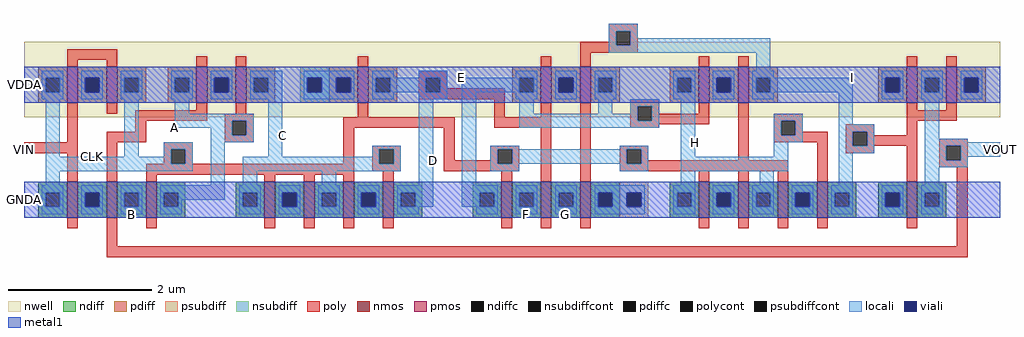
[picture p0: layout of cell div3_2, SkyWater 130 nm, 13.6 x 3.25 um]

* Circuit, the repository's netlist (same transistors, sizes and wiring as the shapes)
* NGSPICE file created from div3_2.ext - technology: sky130A

**.subckt div3_2
X0 C A VDDA VDDA sky130_fd_pr__pfet_01v8 ad=0.2 pd=1.8 as=0.1 ps=0.9 w=0.5 l=0.15
X1 VDDA I VOUT VDDA sky130_fd_pr__pfet_01v8 ad=0.2 pd=1.8 as=0.1 ps=0.9 w=0.5 l=0.15
X2 VOUT I GNDA GNDA sky130_fd_pr__nfet_01v8 ad=0.2 pd=1.8 as=0.2 ps=1.8 w=0.5 l=0.15
X3 D CLK VDDA VDDA sky130_fd_pr__pfet_01v8 ad=0.2 pd=1.8 as=0.2 ps=1.8 w=0.5 l=0.15
X4 C CLK GNDA GNDA sky130_fd_pr__nfet_01v8 ad=0.1 pd=0.9 as=0.1 ps=0.9 w=0.5 l=0.15
X5 GNDA VIN CLK GNDA sky130_fd_pr__nfet_01v8 ad=0.1 pd=0.9 as=0.2 ps=1.8 w=0.5 l=0.15
X6 GNDA CLK H GNDA sky130_fd_pr__nfet_01v8 ad=0.1 pd=0.9 as=0.1 ps=0.9 w=0.5 l=0.15
X7 GNDA I G GNDA sky130_fd_pr__nfet_01v8 ad=0.2 pd=1.8 as=0.1 ps=0.9 w=0.5 l=0.15
X8 I CLK VDDA VDDA sky130_fd_pr__pfet_01v8 ad=0.2 pd=1.8 as=0.1 ps=0.9 w=0.5 l=0.15
X9 VDDA D E VDDA sky130_fd_pr__pfet_01v8 ad=0.1 pd=0.9 as=0.2 ps=1.8 w=0.5 l=0.15
X10 GNDA CLK C GNDA sky130_fd_pr__nfet_01v8 ad=0.1 pd=0.9 as=0.1 ps=0.9 w=0.5 l=0.15
X11 GNDA CLK H GNDA sky130_fd_pr__nfet_01v8 ad=0.1 pd=0.9 as=0.2 ps=1.8 w=0.5 l=0.15
X12 A CLK B GNDA sky130_fd_pr__nfet_01v8 ad=0.2 pd=1.8 as=0.1 ps=0.9 w=0.5 l=0.15
X13 F CLK E GNDA sky130_fd_pr__nfet_01v8 ad=0.1 pd=0.9 as=0.2 ps=1.8 w=0.5 l=0.15
X14 CLK VIN VDDA VDDA sky130_fd_pr__pfet_01v8 ad=0.2 pd=1.8 as=0.1 ps=0.9 w=0.5 l=0.15
X15 VDDA VOUT A VDDA sky130_fd_pr__pfet_01v8 ad=0.1 pd=0.9 as=0.2 ps=1.8 w=0.5 l=0.15
X16 VOUT I VDDA VDDA sky130_fd_pr__pfet_01v8 ad=0.1 pd=0.9 as=0.2 ps=1.8 w=0.5 l=0.15
X17 I H GNDA GNDA sky130_fd_pr__nfet_01v8 ad=0.2 pd=1.8 as=0.1 ps=0.9 w=0.5 l=0.15
X18 GNDA CLK C GNDA sky130_fd_pr__nfet_01v8 ad=0.1 pd=0.9 as=0.2 ps=1.8 w=0.5 l=0.15
X19 VDDA VIN CLK VDDA sky130_fd_pr__pfet_01v8 ad=0.1 pd=0.9 as=0.2 ps=1.8 w=0.5 l=0.15
X20 E I VDDA VDDA sky130_fd_pr__pfet_01v8 ad=0.2 pd=1.8 as=0.1 ps=0.9 w=0.5 l=0.15
X21 D C GNDA GNDA sky130_fd_pr__nfet_01v8 ad=0.2 pd=1.8 as=0.1 ps=0.9 w=0.5 l=0.15
X22 H CLK GNDA GNDA sky130_fd_pr__nfet_01v8 ad=0.1 pd=0.9 as=0.1 ps=0.9 w=0.5 l=0.15
X23 G D F GNDA sky130_fd_pr__nfet_01v8 ad=0.1 pd=0.9 as=0.1 ps=0.9 w=0.5 l=0.15
X24 VDDA E H VDDA sky130_fd_pr__pfet_01v8 ad=0.1 pd=0.9 as=0.2 ps=1.8 w=0.5 l=0.15
X25 B VOUT GNDA GNDA sky130_fd_pr__nfet_01v8 ad=0.1 pd=0.9 as=0.1 ps=0.9 w=0.5 l=0.15
**.ends

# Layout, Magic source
magic
tech sky130A
<< nwell >>
rect 585 105 1945 210
<< nmos >>
rect 645 -35 660 15
rect 700 -35 715 15
rect 755 -35 770 15
rect 920 -35 935 15
rect 975 -35 990 15
rect 1030 -35 1045 15
rect 1085 -35 1100 15
rect 1250 -35 1265 15
rect 1305 -35 1320 15
rect 1360 -35 1375 15
rect 1525 -35 1540 15
rect 1580 -35 1595 15
rect 1635 -35 1650 15
rect 1690 -35 1705 15
rect 1815 -35 1830 15
<< pmos >>
rect 645 125 660 175
rect 700 125 715 175
rect 825 125 840 175
rect 880 125 895 175
rect 1050 125 1065 175
rect 1305 125 1320 175
rect 1360 125 1375 175
rect 1525 125 1540 175
rect 1580 125 1595 175
rect 1815 125 1830 175
rect 1870 125 1885 175
<< ndiff >>
rect 605 0 645 15
rect 605 -20 615 0
rect 635 -20 645 0
rect 605 -35 645 -20
rect 660 0 700 15
rect 660 -20 670 0
rect 690 -20 700 0
rect 660 -35 700 -20
rect 715 0 755 15
rect 715 -20 725 0
rect 745 -20 755 0
rect 715 -35 755 -20
rect 770 0 810 15
rect 770 -20 780 0
rect 800 -20 810 0
rect 770 -35 810 -20
rect 880 0 920 15
rect 880 -20 890 0
rect 910 -20 920 0
rect 880 -35 920 -20
rect 935 0 975 15
rect 935 -20 945 0
rect 965 -20 975 0
rect 935 -35 975 -20
rect 990 0 1030 15
rect 990 -20 1000 0
rect 1020 -20 1030 0
rect 990 -35 1030 -20
rect 1045 0 1085 15
rect 1045 -20 1055 0
rect 1075 -20 1085 0
rect 1045 -35 1085 -20
rect 1100 0 1140 15
rect 1100 -20 1110 0
rect 1130 -20 1140 0
rect 1100 -35 1140 -20
rect 1210 0 1250 15
rect 1210 -20 1220 0
rect 1240 -20 1250 0
rect 1210 -35 1250 -20
rect 1265 0 1305 15
rect 1265 -20 1275 0
rect 1295 -20 1305 0
rect 1265 -35 1305 -20
rect 1320 0 1360 15
rect 1320 -20 1330 0
rect 1350 -20 1360 0
rect 1320 -35 1360 -20
rect 1375 0 1415 15
rect 1375 -20 1385 0
rect 1405 -20 1415 0
rect 1375 -35 1415 -20
rect 1485 0 1525 15
rect 1485 -20 1495 0
rect 1515 -20 1525 0
rect 1485 -35 1525 -20
rect 1540 0 1580 15
rect 1540 -20 1550 0
rect 1570 -20 1580 0
rect 1540 -35 1580 -20
rect 1595 0 1635 15
rect 1595 -20 1605 0
rect 1625 -20 1635 0
rect 1595 -35 1635 -20
rect 1650 0 1690 15
rect 1650 -20 1660 0
rect 1680 -20 1690 0
rect 1650 -35 1690 -20
rect 1705 0 1745 15
rect 1705 -20 1715 0
rect 1735 -20 1745 0
rect 1705 -35 1745 -20
rect 1775 0 1815 15
rect 1775 -20 1785 0
rect 1805 -20 1815 0
rect 1775 -35 1815 -20
rect 1830 0 1870 15
rect 1830 -20 1840 0
rect 1860 -20 1870 0
rect 1830 -35 1870 -20
<< pdiff >>
rect 605 160 645 175
rect 605 140 615 160
rect 635 140 645 160
rect 605 125 645 140
rect 660 160 700 175
rect 660 140 670 160
rect 690 140 700 160
rect 660 125 700 140
rect 715 160 755 175
rect 715 140 725 160
rect 745 140 755 160
rect 715 125 755 140
rect 785 160 825 175
rect 785 140 795 160
rect 815 140 825 160
rect 785 125 825 140
rect 840 160 880 175
rect 840 140 850 160
rect 870 140 880 160
rect 840 125 880 140
rect 895 160 935 175
rect 895 140 905 160
rect 925 140 935 160
rect 895 125 935 140
rect 1010 160 1050 175
rect 1010 140 1020 160
rect 1040 140 1050 160
rect 1010 125 1050 140
rect 1065 160 1105 175
rect 1065 140 1075 160
rect 1095 140 1105 160
rect 1065 125 1105 140
rect 1265 160 1305 175
rect 1265 140 1275 160
rect 1295 140 1305 160
rect 1265 125 1305 140
rect 1320 160 1360 175
rect 1320 140 1330 160
rect 1350 140 1360 160
rect 1320 125 1360 140
rect 1375 160 1415 175
rect 1375 140 1385 160
rect 1405 140 1415 160
rect 1375 125 1415 140
rect 1485 160 1525 175
rect 1485 140 1495 160
rect 1515 140 1525 160
rect 1485 125 1525 140
rect 1540 160 1580 175
rect 1540 140 1550 160
rect 1570 140 1580 160
rect 1540 125 1580 140
rect 1595 160 1635 175
rect 1595 140 1605 160
rect 1625 140 1635 160
rect 1595 125 1635 140
rect 1775 160 1815 175
rect 1775 140 1785 160
rect 1805 140 1815 160
rect 1775 125 1815 140
rect 1830 160 1870 175
rect 1830 140 1840 160
rect 1860 140 1870 160
rect 1830 125 1870 140
rect 1885 160 1925 175
rect 1885 140 1895 160
rect 1915 140 1925 160
rect 1885 125 1925 140
<< ndiffc >>
rect 615 -20 635 0
rect 670 -20 690 0
rect 725 -20 745 0
rect 780 -20 800 0
rect 890 -20 910 0
rect 945 -20 965 0
rect 1000 -20 1020 0
rect 1055 -20 1075 0
rect 1110 -20 1130 0
rect 1220 -20 1240 0
rect 1275 -20 1295 0
rect 1330 -20 1350 0
rect 1385 -20 1405 0
rect 1495 -20 1515 0
rect 1550 -20 1570 0
rect 1605 -20 1625 0
rect 1660 -20 1680 0
rect 1715 -20 1735 0
rect 1785 -20 1805 0
rect 1840 -20 1860 0
<< pdiffc >>
rect 615 140 635 160
rect 670 140 690 160
rect 725 140 745 160
rect 795 140 815 160
rect 850 140 870 160
rect 905 140 925 160
rect 1020 140 1040 160
rect 1075 140 1095 160
rect 1275 140 1295 160
rect 1330 140 1350 160
rect 1385 140 1405 160
rect 1495 140 1515 160
rect 1550 140 1570 160
rect 1605 140 1625 160
rect 1785 140 1805 160
rect 1840 140 1860 160
rect 1895 140 1915 160
<< psubdiff >>
rect 1415 0 1455 15
rect 1415 -20 1425 0
rect 1445 -20 1455 0
rect 1415 -35 1455 -20
<< nsubdiff >>
rect 970 160 1010 175
rect 970 140 980 160
rect 1000 140 1010 160
rect 970 125 1010 140
<< psubdiffcont >>
rect 1425 -20 1445 0
<< nsubdiffcont >>
rect 980 140 1000 160
<< poly >>
rect 1400 225 1440 235
rect 1400 210 1410 225
rect 1360 205 1410 210
rect 1430 205 1440 225
rect 645 185 715 200
rect 1360 195 1440 205
rect 645 175 660 185
rect 700 175 715 185
rect 825 175 840 190
rect 880 175 895 190
rect 1050 175 1065 190
rect 1305 175 1320 190
rect 1360 175 1375 195
rect 1525 175 1540 190
rect 1580 175 1595 190
rect 1815 175 1830 190
rect 1870 175 1885 190
rect 1135 160 1175 170
rect 1135 140 1145 160
rect 1165 145 1175 160
rect 1165 140 1255 145
rect 1135 130 1255 140
rect 645 70 660 125
rect 700 110 715 125
rect 825 115 840 125
rect 740 100 840 115
rect 880 110 895 125
rect 865 100 905 110
rect 1050 105 1065 125
rect 1240 105 1255 130
rect 1305 105 1320 125
rect 740 85 755 100
rect 585 55 660 70
rect 645 15 660 55
rect 700 70 755 85
rect 865 80 875 100
rect 895 80 905 100
rect 865 70 905 80
rect 1030 90 1185 105
rect 1240 90 1320 105
rect 700 15 715 70
rect 780 60 820 70
rect 780 40 790 60
rect 810 40 820 60
rect 1030 40 1045 90
rect 755 25 1045 40
rect 1070 60 1110 65
rect 1070 40 1080 60
rect 1100 40 1110 60
rect 1070 30 1110 40
rect 1170 45 1185 90
rect 1235 60 1275 65
rect 1235 45 1245 60
rect 1170 40 1245 45
rect 1265 40 1275 60
rect 1170 30 1275 40
rect 755 15 770 25
rect 920 15 935 25
rect 975 15 990 25
rect 1030 15 1045 25
rect 1085 15 1100 30
rect 1250 15 1265 30
rect 1305 15 1320 90
rect 1360 15 1375 125
rect 1430 120 1470 130
rect 1430 100 1440 120
rect 1460 110 1470 120
rect 1525 110 1540 125
rect 1460 100 1540 110
rect 1430 95 1540 100
rect 1430 90 1470 95
rect 1415 60 1455 65
rect 1415 40 1425 60
rect 1445 45 1455 60
rect 1580 45 1595 125
rect 1815 115 1830 125
rect 1870 115 1885 125
rect 1630 100 1670 110
rect 1630 80 1640 100
rect 1660 85 1670 100
rect 1815 100 1885 115
rect 1730 85 1770 95
rect 1660 80 1705 85
rect 1630 70 1705 80
rect 1445 40 1650 45
rect 1415 30 1650 40
rect 1525 15 1540 30
rect 1580 15 1595 30
rect 1635 15 1650 30
rect 1690 15 1705 70
rect 1730 65 1740 85
rect 1760 80 1770 85
rect 1815 80 1830 100
rect 1760 65 1830 80
rect 1730 55 1770 65
rect 1815 15 1830 65
rect 1860 65 1900 75
rect 1860 45 1870 65
rect 1890 45 1900 65
rect 1860 35 1900 45
rect 645 -50 660 -35
rect 700 -75 715 -35
rect 755 -50 770 -35
rect 920 -50 935 -35
rect 975 -50 990 -35
rect 1030 -50 1045 -35
rect 1085 -50 1100 -35
rect 1250 -50 1265 -35
rect 1305 -50 1320 -35
rect 1360 -50 1375 -35
rect 1525 -50 1540 -35
rect 1580 -50 1595 -35
rect 1635 -50 1650 -35
rect 1690 -50 1705 -35
rect 1815 -50 1830 -35
rect 1885 -75 1900 35
rect 700 -90 1900 -75
<< polycont >>
rect 1410 205 1430 225
rect 1145 140 1165 160
rect 875 80 895 100
rect 790 40 810 60
rect 1080 40 1100 60
rect 1245 40 1265 60
rect 1440 100 1460 120
rect 1425 40 1445 60
rect 1640 80 1660 100
rect 1740 65 1760 85
rect 1870 45 1890 65
<< locali >>
rect 1400 225 1440 235
rect 1400 205 1410 225
rect 1430 215 1440 225
rect 1430 205 1625 215
rect 1400 195 1625 205
rect 1605 170 1625 195
rect 610 160 640 170
rect 610 140 615 160
rect 635 140 640 160
rect 610 130 640 140
rect 665 160 695 170
rect 665 140 670 160
rect 690 140 695 160
rect 665 130 695 140
rect 720 160 750 170
rect 720 140 725 160
rect 745 140 750 160
rect 720 130 750 140
rect 790 160 820 170
rect 790 140 795 160
rect 815 140 820 160
rect 790 130 820 140
rect 845 160 875 170
rect 845 140 850 160
rect 870 140 875 160
rect 845 130 875 140
rect 900 160 945 170
rect 900 140 905 160
rect 925 140 945 160
rect 900 130 945 140
rect 975 160 1045 170
rect 975 140 980 160
rect 1000 140 1020 160
rect 1040 140 1045 160
rect 975 130 1045 140
rect 1070 160 1100 170
rect 1135 160 1175 170
rect 1270 160 1300 170
rect 1070 140 1075 160
rect 1095 140 1145 160
rect 1165 140 1175 160
rect 1070 130 1100 140
rect 1135 130 1175 140
rect 1195 140 1275 160
rect 1295 140 1300 160
rect 615 50 635 130
rect 725 50 745 130
rect 795 110 815 130
rect 795 100 905 110
rect 795 90 875 100
rect 845 80 875 90
rect 895 80 905 100
rect 845 70 905 80
rect 780 60 820 70
rect 780 50 790 60
rect 615 40 790 50
rect 810 40 820 60
rect 615 30 820 40
rect 615 10 635 30
rect 845 10 865 70
rect 925 50 945 130
rect 1070 60 1110 65
rect 1070 50 1080 60
rect 890 40 1080 50
rect 1100 40 1110 60
rect 890 30 1110 40
rect 890 10 910 30
rect 1000 10 1020 30
rect 1135 10 1155 130
rect 610 0 640 10
rect 610 -20 615 0
rect 635 -20 640 0
rect 610 -30 640 -20
rect 665 0 695 10
rect 665 -20 670 0
rect 690 -20 695 0
rect 665 -30 695 -20
rect 720 0 750 10
rect 720 -20 725 0
rect 745 -20 750 0
rect 720 -30 750 -20
rect 775 0 865 10
rect 775 -20 780 0
rect 800 -10 865 0
rect 885 0 915 10
rect 800 -20 805 -10
rect 775 -30 805 -20
rect 885 -20 890 0
rect 910 -20 915 0
rect 885 -30 915 -20
rect 940 0 970 10
rect 940 -20 945 0
rect 965 -20 970 0
rect 940 -30 970 -20
rect 995 0 1025 10
rect 995 -20 1000 0
rect 1020 -20 1025 0
rect 995 -30 1025 -20
rect 1050 0 1080 10
rect 1050 -20 1055 0
rect 1075 -20 1080 0
rect 1050 -30 1080 -20
rect 1105 0 1155 10
rect 1105 -20 1110 0
rect 1130 -20 1155 0
rect 1195 10 1215 140
rect 1270 130 1300 140
rect 1325 160 1355 170
rect 1325 140 1330 160
rect 1350 140 1355 160
rect 1325 130 1355 140
rect 1380 160 1410 170
rect 1380 140 1385 160
rect 1405 140 1410 160
rect 1380 130 1410 140
rect 1490 160 1520 170
rect 1490 140 1495 160
rect 1515 140 1520 160
rect 1490 130 1520 140
rect 1545 160 1575 170
rect 1545 140 1550 160
rect 1570 140 1575 160
rect 1545 130 1575 140
rect 1600 160 1630 170
rect 1780 160 1810 170
rect 1600 140 1605 160
rect 1625 140 1740 160
rect 1600 130 1630 140
rect 1275 110 1295 130
rect 1385 110 1405 130
rect 1430 120 1470 130
rect 1430 110 1440 120
rect 1275 100 1440 110
rect 1460 100 1470 120
rect 1275 90 1470 100
rect 1235 60 1275 65
rect 1415 60 1455 65
rect 1235 40 1245 60
rect 1265 40 1425 60
rect 1445 40 1455 60
rect 1235 30 1275 40
rect 1415 30 1455 40
rect 1500 50 1520 130
rect 1630 100 1670 110
rect 1630 80 1640 100
rect 1660 80 1670 100
rect 1630 70 1670 80
rect 1720 95 1740 140
rect 1780 140 1785 160
rect 1805 140 1810 160
rect 1780 130 1810 140
rect 1835 160 1865 170
rect 1835 140 1840 160
rect 1860 140 1865 160
rect 1835 130 1865 140
rect 1890 160 1920 170
rect 1890 140 1895 160
rect 1915 140 1920 160
rect 1890 130 1920 140
rect 1720 85 1770 95
rect 1630 50 1650 70
rect 1500 30 1650 50
rect 1720 65 1740 85
rect 1760 65 1770 85
rect 1720 55 1770 65
rect 1840 75 1860 130
rect 1840 70 1900 75
rect 1840 65 1945 70
rect 1500 10 1520 30
rect 1610 10 1630 30
rect 1720 10 1740 55
rect 1840 45 1870 65
rect 1890 50 1945 65
rect 1890 45 1900 50
rect 1840 35 1900 45
rect 1840 10 1860 35
rect 1195 0 1245 10
rect 1195 -20 1220 0
rect 1240 -20 1245 0
rect 1105 -30 1135 -20
rect 1215 -30 1245 -20
rect 1270 0 1300 10
rect 1270 -20 1275 0
rect 1295 -20 1300 0
rect 1270 -30 1300 -20
rect 1325 0 1355 10
rect 1325 -20 1330 0
rect 1350 -20 1355 0
rect 1325 -30 1355 -20
rect 1380 0 1450 10
rect 1380 -20 1385 0
rect 1405 -20 1425 0
rect 1445 -20 1450 0
rect 1380 -30 1450 -20
rect 1490 0 1520 10
rect 1490 -20 1495 0
rect 1515 -20 1520 0
rect 1490 -30 1520 -20
rect 1545 0 1575 10
rect 1545 -20 1550 0
rect 1570 -20 1575 0
rect 1545 -30 1575 -20
rect 1600 0 1630 10
rect 1600 -20 1605 0
rect 1625 -20 1630 0
rect 1600 -30 1630 -20
rect 1655 0 1685 10
rect 1655 -20 1660 0
rect 1680 -20 1685 0
rect 1655 -30 1685 -20
rect 1710 0 1740 10
rect 1710 -20 1715 0
rect 1735 -20 1740 0
rect 1710 -30 1740 -20
rect 1780 0 1810 10
rect 1780 -20 1785 0
rect 1805 -20 1810 0
rect 1780 -30 1810 -20
rect 1835 0 1865 10
rect 1835 -20 1840 0
rect 1860 -20 1865 0
rect 1835 -30 1865 -20
<< viali >>
rect 670 140 690 160
rect 850 140 870 160
rect 980 140 1000 160
rect 1020 140 1040 160
rect 670 -20 690 0
rect 945 -20 965 0
rect 1055 -20 1075 0
rect 1330 140 1350 160
rect 1550 140 1570 160
rect 1785 140 1805 160
rect 1895 140 1915 160
rect 1385 -20 1405 0
rect 1425 -20 1445 0
rect 1550 -20 1570 0
rect 1660 -20 1680 0
rect 1785 -20 1805 0
<< metal1 >>
rect 585 160 1945 175
rect 585 140 670 160
rect 690 140 850 160
rect 870 140 980 160
rect 1000 140 1020 160
rect 1040 140 1330 160
rect 1350 140 1550 160
rect 1570 140 1785 160
rect 1805 140 1895 160
rect 1915 140 1945 160
rect 585 125 1945 140
rect 585 0 1945 15
rect 585 -20 670 0
rect 690 -20 945 0
rect 965 -20 1055 0
rect 1075 -20 1385 0
rect 1405 -20 1425 0
rect 1445 -20 1550 0
rect 1570 -20 1660 0
rect 1680 -20 1785 0
rect 1805 -20 1945 0
rect 585 -35 1945 -20
<< labels >>
flabel metal1 585 150 585 150 7 FreeSans 160 0 -80 0 VDDA
port 3 w
flabel metal1 585 -10 585 -10 7 FreeSans 160 0 -80 0 GNDA
port 4 w
flabel poly 585 60 585 60 7 FreeSans 160 0 -80 0 VIN
port 2 w
flabel locali 680 50 680 50 1 FreeSans 160 0 0 80 CLK
flabel locali 795 90 795 90 7 FreeSans 160 0 -80 0 A
flabel locali 735 -30 735 -30 5 FreeSans 160 0 0 -80 B
flabel locali 945 80 945 80 3 FreeSans 160 0 80 0 C
flabel locali 1155 45 1155 45 3 FreeSans 160 0 0 0 D
flabel locali 1740 160 1740 160 3 FreeSans 160 0 80 0 I
flabel locali 1195 160 1195 160 7 FreeSans 160 0 -80 0 E
flabel locali 1285 -30 1285 -30 5 FreeSans 160 0 0 -80 F
flabel locali 1340 -30 1340 -30 5 FreeSans 160 0 0 -80 G
flabel locali 1520 70 1520 70 3 FreeSans 160 0 80 0 H
flabel locali 1945 60 1945 60 3 FreeSans 160 0 80 0 VOUT
<< end >>
